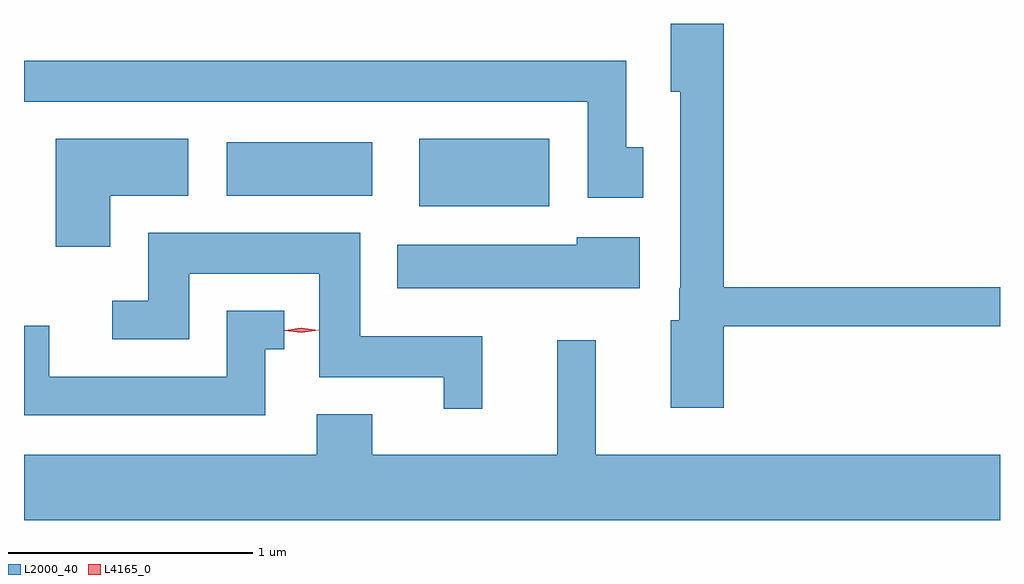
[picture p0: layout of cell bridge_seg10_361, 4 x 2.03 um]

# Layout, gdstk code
import gdstk
lib = gdstk.Library(unit=1e-6, precision=1e-09)
def R(c, l, rs):  # rectangles x0, y0, x1, y1
    for r in rs: c.add(gdstk.rectangle(r[:2], r[2:], *l))
def P(c, l, *ps):  # polygons
    for p in ps: c.add(gdstk.Polygon(p, *l))
L2000_40 = (2000, 40)
L4165_0 = (4165, 0)

bridge_seg10_361 = lib.new_cell('bridge_seg10_361')
R(bridge_seg10_361, L2000_40, [(1109.651,2084.121,1110.184,2084.399), (1108.861,2084.166,1109.459,2084.384)])
P(bridge_seg10_361, L2000_40, [(1110.899,2083.631),(1112.031,2083.631),(1112.031,2083.789),(1110.899,2083.789),(1110.899,2084.869),(1110.681,2084.869),(1110.681,2084.591),(1110.721,2084.591),(1110.721,2083.785),(1110.716,2083.785),(1110.716,2083.654),(1110.681,2083.654),(1110.681,2083.296),(1110.899,2083.296)],
  [(1110.569,2084.364),(1110.499,2084.364),(1110.499,2084.719),(1108.031,2084.719),(1108.031,2084.551),(1110.341,2084.551),(1110.341,2084.156),(1110.569,2084.156)],
  [(1108.384,2084.166),(1108.704,2084.166),(1108.704,2084.399),(1108.161,2084.399),(1108.161,2083.956),(1108.384,2083.956)],
  [(1109.909,2083.589),(1109.409,2083.589),(1109.409,2084.014),(1108.541,2084.014),(1108.541,2083.734),(1108.393,2083.734),(1108.393,2083.576),(1108.709,2083.576),(1108.709,2083.846),(1109.241,2083.846),(1109.241,2083.421),(1109.751,2083.421),(1109.751,2083.293),(1109.909,2083.293)],
  [(1110.554,2083.994),(1110.296,2083.994),(1110.296,2083.964),(1109.561,2083.964),(1109.561,2083.786),(1110.554,2083.786)],
  [(1109.019,2083.536),(1109.098,2083.536),(1109.098,2083.694),(1108.861,2083.694),(1108.861,2083.424),(1108.134,2083.424),(1108.134,2083.633),(1108.031,2083.633),(1108.031,2083.266),(1109.019,2083.266)],
  [(1112.031,2083.104),(1110.374,2083.104),(1110.374,2083.573),(1110.216,2083.573),(1110.216,2083.104),(1109.459,2083.104),(1109.459,2083.269),(1109.231,2083.269),(1109.231,2083.104),(1108.031,2083.104),(1108.031,2082.836),(1112.031,2082.836)])
P(bridge_seg10_361, L4165_0, [(1109.168,2083.604),(1109.099,2083.612),(1109.099,2083.613),(1109.099,2083.613),(1109.168,2083.623),(1109.238,2083.614),(1109.238,2083.614),(1109.238,2083.613)])

lib.write_gds('bridge_seg10_361.gds')
